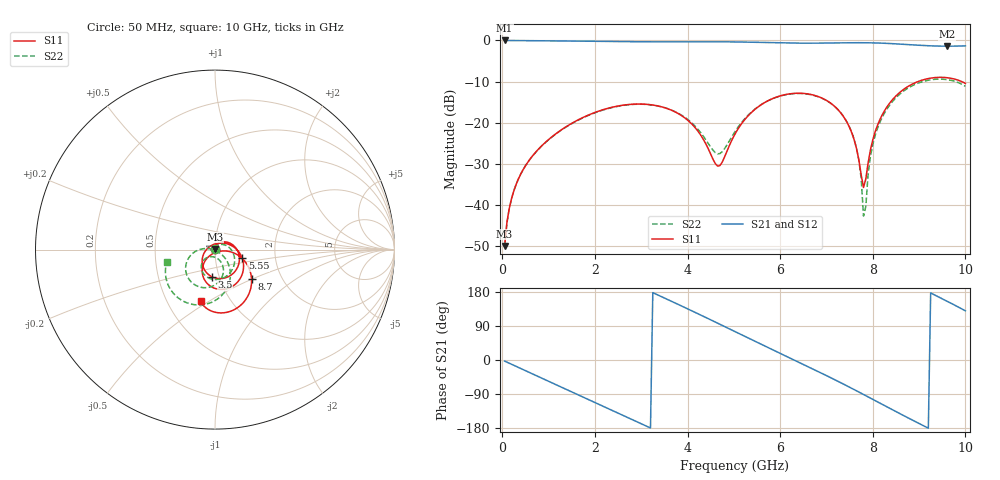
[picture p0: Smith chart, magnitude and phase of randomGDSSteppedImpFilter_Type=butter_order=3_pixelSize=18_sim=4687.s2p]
! freq	dB(S11)	phase(S11)	dB(S12)	phase(S12)
!  dB(S21)	phase(S21)	dB(S22)	phase(S22)
!S-par simulation data
#  GHz  S  DB  R 50
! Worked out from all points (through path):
!   200 points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, 50 MHz to 10 GHz, reference 50 ohm
!   highest |S21| = -0.01 dB at 50 MHz (marker M1); lowest = -1.4 dB at 9.6 GHz (marker M2)
!   group delay of S21, straight-line fit = 163 ps
!   lowest |S11| = -50.1 dB at 50 MHz (marker M3), VSWR 1.01, Z = 50.1 + j0.308 ohm
!   |S11| at or under -10 dB: start of sweep to 8.98 GHz; 9.916 GHz to end of sweep
!   |S22| runs from -50.1 to -9.4 dB; largest |S21 - S12| = 0
!   S11 on the Smith chart (normalised r, x): 50 MHz: 1.00, +0.01; 3.5 GHz: 0.92, -0.29; 5.55 GHz: 1.35, -0.13; 8.7 GHz: 1.41, -0.50; 10 GHz: 0.73, -0.46
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0.05  -50.07 78.3  -0.01 -2.9  -0.01 -2.9  -50.09 77.0
0.2  -38.50 77.4  -0.02 -11.3  -0.02 -11.3  -38.51 72.8
0.5  -30.52 66.3  -0.04 -28.1  -0.04 -28.1  -30.52 55.4
1.15  -22.78 36.2  -0.10 -64.6  -0.10 -64.6  -22.83 15.1
1.75  -18.72 5.0  -0.17 -98.2  -0.17 -98.2  -18.80 -20.4
2.65  -15.70 -45.5  -0.30 -148.6  -0.30 -148.6  -15.76 -70.0
3.4  -16.05 -90.3  -0.35 169.3  -0.35 169.3  -16.06 -108.0
3.5  -16.36 -96.6  -0.35 163.7  -0.35 163.7  -16.35 -112.8
4.15  -21.05 -143.2  -0.33 126.5  -0.33 126.5  -20.73 -136.5
4.65  -30.60 121.6  -0.33 97.2  -0.33 97.2  -27.62 -104.5
5.05  -22.30 24.3  -0.37 73.5  -0.37 73.5  -21.78 -63.9
5.55  -15.96 -17.7  -0.48 43.9  -0.48 43.9  -15.93 -76.4
6.15  -13.10 -56.4  -0.63 8.8  -0.63 8.8  -13.15 -105.2
6.7  -13.25 -89.0  -0.67 -23.4  -0.67 -23.4  -13.31 -134.6
7.5  -21.22 -130.9  -0.57 -71.9  -0.57 -71.9  -21.15 -179.8
7.7  -29.13 -126.9  -0.56 -84.5  -0.56 -84.5  -29.18 171.5
7.8  -35.80 -76.5  -0.56 -90.9  -0.56 -90.9  -42.76 -161.9
8  -24.22 -7.2  -0.60 -103.8  -0.60 -103.8  -25.36 -37.2
8.35  -15.49 -19.5  -0.74 -126.5  -0.74 -126.5  -15.97 -57.2
8.7  -11.65 -38.8  -0.97 -148.8  -0.97 -148.8  -12.05 -79.3
9.6  -9.06 -87.3  -1.40 155.4  -1.40 155.4  -9.53 -137.0
10  -10.46 -105.5  -1.32 129.8  -1.32 129.8  -11.18 -165.9
